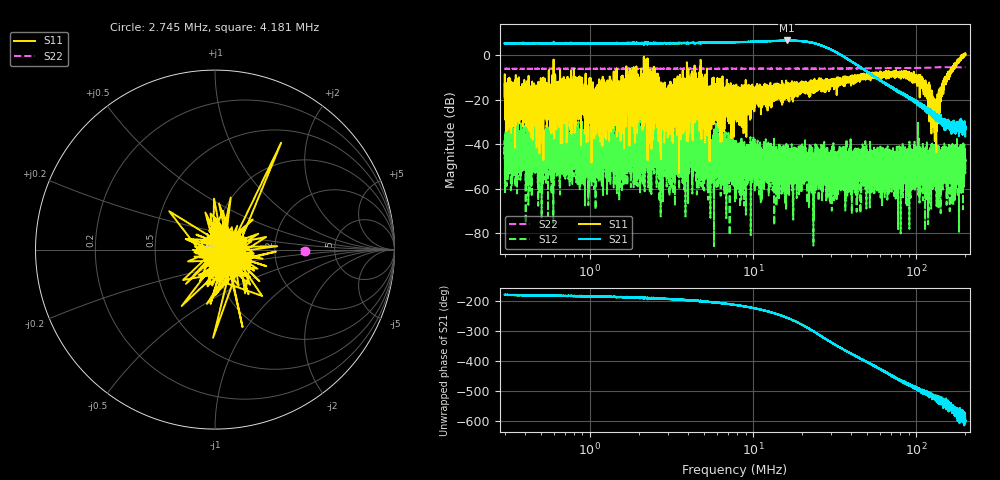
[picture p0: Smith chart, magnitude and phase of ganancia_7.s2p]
# Hz S DB R 50
! CMT, M5065, 19127446, 24.2.4/2
! Date: 11/1/2024 3:09:01 PM
! Data: Format (Calibration Info)
! Freq	S11:dB/Ang(F2)	S21:dB/Ang(F2)	S12:dB/Ang(F2)	S22:dB/Ang(F2)
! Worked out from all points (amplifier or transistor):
!   9000 points, 300 kHz to 200 MHz, reference 50 ohm
!   highest |S21| = 6.7 dB at 16.06 MHz (marker M1)
!   |S21| within 3 dB of that: start of sweep to 27.69 MHz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
!   unconditionally stable (mu >= 1): start of sweep to 188.7 MHz; 188.9 MHz to 192.1 MHz; 192.3143 MHz to 193.2148 MHz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
!   at 886.8 kHz: K = 26.45, MAG = 6.7 dB, |S12| = -42.5 dB
!   at 7.749 MHz: K = 135.69, MAG = 7.2 dB, |S12| = -57.1 dB
!   at 200 MHz: K = -87.10, MSG = 7.4 dB, |S12| = -47.0 dB
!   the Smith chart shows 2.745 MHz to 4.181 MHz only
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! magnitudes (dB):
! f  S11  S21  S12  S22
! 300 kHz  -12.9  5.5  -44.2  -6.1
! 311.7 kHz  -19.7  5.5  -47.0  -6.0
! 342.7 kHz  -18.0  5.6  -39.7  -6.0
! 778.6 kHz  -17.7  5.4  -57.9  -6.1
! 886.8 kHz  -17.6  5.4  -42.5  -6.1
! 1.286 MHz  -27.2  5.5  -50.9  -6.1
! 1.79 MHz  -20.6  5.5  -41.1  -6.0
! 2.006 MHz  -27.0  5.5  -46.0  -6.0
! 2.204 MHz  -19.7  5.5  -45.8  -6.0
! 2.621 MHz  -24.1  5.5  -41.3  -6.0
! 2.789 MHz  -19.2  5.5  -46.6  -6.0
! 3.934 MHz  -26.8  5.6  -39.9  -6.0
! 4.19 MHz  -16.1  5.5  -38.9  -6.0
! 7.749 MHz  -28.2  5.9  -57.1  -6.0
! 16.06 MHz  -14.4  6.7  -43.3  -6.0
! 22.91 MHz  -14.0  5.6  -47.0  -6.0
! 67.71 MHz  -8.6  -13.7  -55.1  -5.7
! 105.6 MHz  -11.1  -21.8  -43.8  -5.6
! 118.4 MHz  -15.0  -25.4  -53.5  -5.5
! 130.6 MHz  -37.4  -26.1  -46.8  -5.4
! 153.1 MHz  -11.1  -30.1  -46.3  -5.3
! 200 MHz  0.1  -32.1  -47.0  -5.4
